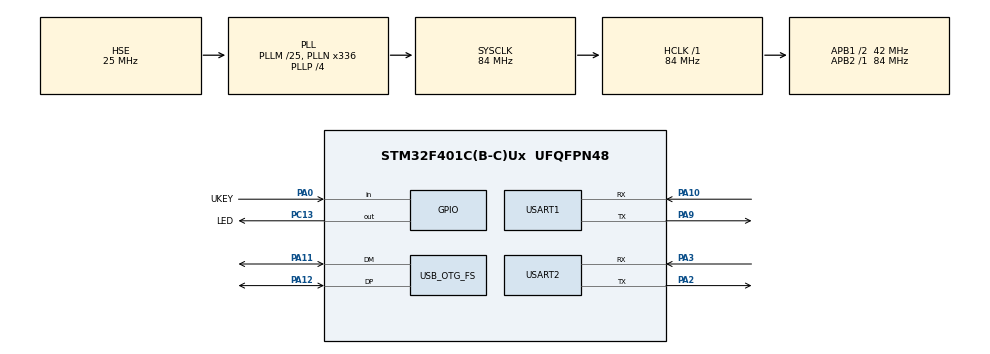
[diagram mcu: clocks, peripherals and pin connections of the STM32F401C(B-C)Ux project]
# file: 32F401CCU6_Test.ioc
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Dma.Request0=USART1_RX
Dma.USART1_RX.0.Direction=DMA_PERIPH_TO_MEMORY
Dma.USART1_RX.0.FIFOMode=DMA_FIFOMODE_DISABLE
Dma.USART1_RX.0.Instance=DMA2_Stream2
Dma.USART1_RX.0.MemDataAlignment=DMA_MDATAALIGN_BYTE
Dma.USART1_RX.0.MemInc=DMA_MINC_ENABLE
Dma.USART1_RX.0.Mode=DMA_CIRCULAR
Dma.USART1_RX.0.PeriphDataAlignment=DMA_PDATAALIGN_BYTE
Dma.USART1_RX.0.PeriphInc=DMA_PINC_DISABLE
Dma.USART1_RX.0.Priority=DMA_PRIORITY_LOW
Mcu.Family=STM32F4
Mcu.Name=STM32F401C(B-C)Ux
Mcu.Package=UFQFPN48
NVIC.DMA2_Stream2_IRQn=true\:0\:0\:false\:false\:true\:false\:true\:true
NVIC.OTG_FS_IRQn=true\:0\:0\:false\:false\:true\:false\:true\:true
NVIC.PriorityGroup=NVIC_PRIORITYGROUP_4
NVIC.USART1_IRQn=true\:0\:0\:false\:false\:true\:true\:true\:true
PA0-WKUP.GPIO_Label=UKEY
PA0-WKUP.GPIO_PuPd=GPIO_PULLUP
PA0-WKUP.Signal=GPIO_Input
PA10.Mode=Asynchronous
PA10.Signal=USART1_RX
PA11.Mode=Device_Only
PA11.Signal=USB_OTG_FS_DM
PA12.Mode=Device_Only
PA12.Signal=USB_OTG_FS_DP
PA13.Mode=Serial_Wire
PA13.Signal=SYS_JTMS-SWDIO
PA14.Mode=Serial_Wire
PA14.Signal=SYS_JTCK-SWCLK
PA2.Mode=Asynchronous
PA2.Signal=USART2_TX
PA3.Mode=Asynchronous
PA3.Signal=USART2_RX
PA9.Mode=Asynchronous
PA9.Signal=USART1_TX
PC13-ANTI_TAMP.GPIO_Label=LED
PC13-ANTI_TAMP.PinState=GPIO_PIN_SET
PC13-ANTI_TAMP.Signal=GPIO_Output
PC14-OSC32_IN.Mode=LSE-External-Oscillator
PC14-OSC32_IN.Signal=RCC_OSC32_IN
PC15-OSC32_OUT.Mode=LSE-External-Oscillator
PC15-OSC32_OUT.Signal=RCC_OSC32_OUT
PH0\ -\ OSC_IN.Mode=HSE-External-Oscillator
PH0\ -\ OSC_IN.Signal=RCC_OSC_IN
PH1\ -\ OSC_OUT.Mode=HSE-External-Oscillator
PH1\ -\ OSC_OUT.Signal=RCC_OSC_OUT
ProjectManager.HeapSize=0x200
ProjectManager.StackSize=0x400
ProjectManager.TargetToolchain=STM32CubeIDE
RCC.48MHZClocksFreq_Value=48000000
RCC.AHBFreq_Value=84000000
RCC.APB1CLKDivider=RCC_HCLK_DIV2
RCC.APB1Freq_Value=42000000
RCC.APB1TimFreq_Value=84000000
RCC.APB2Freq_Value=84000000
RCC.APB2TimFreq_Value=84000000
RCC.CortexFreq_Value=84000000
RCC.HCLKFreq_Value=84000000
RCC.HSE_VALUE=25000000
RCC.HSI_VALUE=16000000
RCC.PLLM=25
RCC.PLLN=336
RCC.PLLP=RCC_PLLP_DIV4
RCC.PLLQ=7
RCC.RCC_RTC_Clock_Source=RCC_RTCCLKSOURCE_LSE
RCC.SYSCLKFreq_VALUE=84000000
RCC.SYSCLKSource=RCC_SYSCLKSOURCE_PLLCLK
RCC.VCOOutputFreq_Value=336000000
USART1.VirtualMode=VM_ASYNC
USART2.VirtualMode=VM_ASYNC
USB_DEVICE.APP_RX_DATA_SIZE=512
USB_DEVICE.APP_TX_DATA_SIZE=512
USB_DEVICE.CLASS_NAME_FS=CDC
USB_DEVICE.VirtualMode=Cdc
USB_DEVICE.VirtualModeFS=Cdc_FS
USB_OTG_FS.VirtualMode=Device_Only
VP_RTC_VS_RTC_Activate.Mode=RTC_Enabled
VP_USB_DEVICE_VS_USB_DEVICE_CDC_FS.Mode=CDC_FS
board=custom

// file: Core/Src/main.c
/* USER CODE BEGIN Header */
/**
  ******************************************************************************
  * @file           : main.c
  * @brief          : Main program body
  ******************************************************************************
  * @attention
  *
  * Copyright (c) 2022 STMicroelectronics.
  * All rights reserved.
  *
  * This software is licensed under terms that can be found in the LICENSE file
  * in the root directory of this software component.
  * If no LICENSE file comes with this software, it is provided AS-IS.
  *
  ******************************************************************************
  */
/* USER CODE END Header */
#include "main.h"
#include "usb_device.h"

/* USER CODE BEGIN Includes */
#include "hw.h"
/* USER CODE END Includes */

RTC_HandleTypeDef hrtc;

extern UART_HandleTypeDef huart1;
UART_HandleTypeDef huart2;
extern DMA_HandleTypeDef hdma_usart1_rx;

void SystemClock_Config(void);
static void MX_GPIO_Init(void);
static void MX_DMA_Init(void);
static void MX_USART1_UART_Init(void);
static void MX_USART2_UART_Init(void);
static void MX_RTC_Init(void);

int main(void)
{
  /* USER CODE BEGIN 1 */
	uint32_t interval;
	uint32_t pre_baud;
	int cnt=0;

  /* USER CODE END 1 */

  /* MCU Configuration--------------------------------------------------------*/

  /* Reset of all peripherals, Initializes the Flash interface and the Systick. */
  HAL_Init();

  /* Configure the system clock */
  SystemClock_Config();

  /* Initialize all configured peripherals */
  MX_GPIO_Init();
  MX_DMA_Init();
  MX_USART1_UART_Init();
  MX_USART2_UART_Init();
  MX_USB_DEVICE_Init();
  MX_RTC_Init();

  /* Infinite loop */
  /* USER CODE BEGIN WHILE */
  hwInit();

  pre_baud = uartGetBaud(_DEF_UART1);

  interval = HAL_GetTick();
  while (1)
  {
	  if( HAL_GetTick() > interval + 200 )
	  {
		  interval = HAL_GetTick();
		  ledToggle(_DEF_LED1);
		  //uartPrintf(_DEF_UART2,"\r\nCount : %d", cnt++ );
		  // CDC_Transmit_FS("\r\nUSB CDC Test..", strlen("\r\nUSB CDC Test.."));
	  }

	  if( uartAvailable(_DEF_UART2) > 0 )
	  	  {
	  		  uint8_t rx_data;

	  		  rx_data = uartRead(_DEF_UART2);
	  		  uartPrintf(_DEF_UART2,"%c", rx_data, rx_data);
	  	  }

	  if( buttonGet(_DEF_KEY1) == GPIO_PIN_SET )
	  {
		  printf("\r\nButton : ON");
	  }

	  if( uartAvailable(_DEF_UART1) > 0 )
	  {
		  uint8_t rx_data;

		  rx_data = uartRead(_DEF_UART1);
		  uartPrintf(_DEF_UART1,"\r\nRxData[1] : %c 0x%X", rx_data, rx_data);
	  }

	  if( uartGetBaud(_DEF_UART1) !=  pre_baud )
	  {
		  pre_baud = uartGetBaud(_DEF_UART1);
		  uartPrintf(_DEF_UART1, "\r\nChange : %d", pre_baud);
	  }
    /* USER CODE END WHILE */

  }
}

void SystemClock_Config(void)
{
  RCC_OscInitTypeDef RCC_OscInitStruct = {0};
  RCC_ClkInitTypeDef RCC_ClkInitStruct = {0};

  /** Configure the main internal regulator output voltage
  */
  __HAL_RCC_PWR_CLK_ENABLE();
  __HAL_PWR_VOLTAGESCALING_CONFIG(PWR_REGULATOR_VOLTAGE_SCALE2);

  /** Initializes the RCC Oscillators according to the specified parameters
  * in the RCC_OscInitTypeDef structure.
  */
  RCC_OscInitStruct.OscillatorType = RCC_OSCILLATORTYPE_HSE|RCC_OSCILLATORTYPE_LSE;
  RCC_OscInitStruct.HSEState = RCC_HSE_ON;
  RCC_OscInitStruct.LSEState = RCC_LSE_ON;
  RCC_OscInitStruct.PLL.PLLState = RCC_PLL_ON;
  RCC_OscInitStruct.PLL.PLLSource = RCC_PLLSOURCE_HSE;
  RCC_OscInitStruct.PLL.PLLM = 25;
  RCC_OscInitStruct.PLL.PLLN = 336;
  RCC_OscInitStruct.PLL.PLLP = RCC_PLLP_DIV4;
  RCC_OscInitStruct.PLL.PLLQ = 7;
  if (HAL_RCC_OscConfig(&RCC_OscInitStruct) != HAL_OK)
  {
    Error_Handler();
  }

  /** Initializes the CPU, AHB and APB buses clocks
  */
  RCC_ClkInitStruct.ClockType = RCC_CLOCKTYPE_HCLK|RCC_CLOCKTYPE_SYSCLK
                              |RCC_CLOCKTYPE_PCLK1|RCC_CLOCKTYPE_PCLK2;
  RCC_ClkInitStruct.SYSCLKSource = RCC_SYSCLKSOURCE_PLLCLK;
  RCC_ClkInitStruct.AHBCLKDivider = RCC_SYSCLK_DIV1;
  RCC_ClkInitStruct.APB1CLKDivider = RCC_HCLK_DIV2;
  RCC_ClkInitStruct.APB2CLKDivider = RCC_HCLK_DIV1;

  if (HAL_RCC_ClockConfig(&RCC_ClkInitStruct, FLASH_LATENCY_2) != HAL_OK)
  {
    Error_Handler();
  }
}

static void MX_RTC_Init(void)
{

  /** Initialize RTC Only
  */
  hrtc.Instance = RTC;
  hrtc.Init.HourFormat = RTC_HOURFORMAT_24;
  hrtc.Init.AsynchPrediv = 127;
  hrtc.Init.SynchPrediv = 255;
  hrtc.Init.OutPut = RTC_OUTPUT_DISABLE;
  hrtc.Init.OutPutPolarity = RTC_OUTPUT_POLARITY_HIGH;
  hrtc.Init.OutPutType = RTC_OUTPUT_TYPE_OPENDRAIN;
  if (HAL_RTC_Init(&hrtc) != HAL_OK)
  {
    Error_Handler();
  }

}

static void MX_USART1_UART_Init(void)
{

  huart1.Instance = USART1;
  huart1.Init.BaudRate = 115200;
  huart1.Init.WordLength = UART_WORDLENGTH_8B;
  huart1.Init.StopBits = UART_STOPBITS_1;
  huart1.Init.Parity = UART_PARITY_NONE;
  huart1.Init.Mode = UART_MODE_TX_RX;
  huart1.Init.HwFlowCtl = UART_HWCONTROL_NONE;
  huart1.Init.OverSampling = UART_OVERSAMPLING_16;
  if (HAL_UART_Init(&huart1) != HAL_OK)
  {
    Error_Handler();
  }

}

static void MX_USART2_UART_Init(void)
{

  huart2.Instance = USART2;
  huart2.Init.BaudRate = 115200;
  huart2.Init.WordLength = UART_WORDLENGTH_8B;
  huart2.Init.StopBits = UART_STOPBITS_1;
  huart2.Init.Parity = UART_PARITY_NONE;
  huart2.Init.Mode = UART_MODE_TX_RX;
  huart2.Init.HwFlowCtl = UART_HWCONTROL_NONE;
  huart2.Init.OverSampling = UART_OVERSAMPLING_16;
  if (HAL_UART_Init(&huart2) != HAL_OK)
  {
    Error_Handler();
  }

}

static void MX_DMA_Init(void)
{

  /* DMA controller clock enable */
  __HAL_RCC_DMA2_CLK_ENABLE();

  /* DMA interrupt init */
  /* DMA2_Stream2_IRQn interrupt configuration */
  HAL_NVIC_SetPriority(DMA2_Stream2_IRQn, 0, 0);
  HAL_NVIC_EnableIRQ(DMA2_Stream2_IRQn);

}

static void MX_GPIO_Init(void)
{
  GPIO_InitTypeDef GPIO_InitStruct = {0};

  /* GPIO Ports Clock Enable */
  __HAL_RCC_GPIOC_CLK_ENABLE();
  __HAL_RCC_GPIOH_CLK_ENABLE();
  __HAL_RCC_GPIOA_CLK_ENABLE();

  /*Configure GPIO pin Output Level */
  HAL_GPIO_WritePin(LED_GPIO_Port, LED_Pin, GPIO_PIN_SET);

  /*Configure GPIO pin : LED_Pin */
  GPIO_InitStruct.Pin = LED_Pin;
  GPIO_InitStruct.Mode = GPIO_MODE_OUTPUT_PP;
  GPIO_InitStruct.Pull = GPIO_NOPULL;
  GPIO_InitStruct.Speed = GPIO_SPEED_FREQ_LOW;
  HAL_GPIO_Init(LED_GPIO_Port, &GPIO_InitStruct);

  /*Configure GPIO pin : UKEY_Pin */
  GPIO_InitStruct.Pin = UKEY_Pin;
  GPIO_InitStruct.Mode = GPIO_MODE_INPUT;
  GPIO_InitStruct.Pull = GPIO_PULLUP;
  HAL_GPIO_Init(UKEY_GPIO_Port, &GPIO_InitStruct);

}

void Error_Handler(void)
{
  __disable_irq();
  while (1)
  {
  }
}
